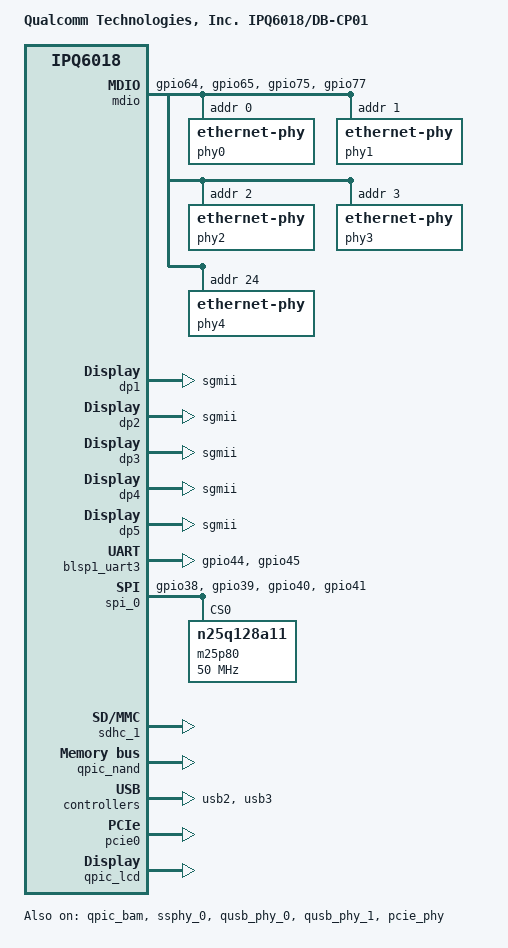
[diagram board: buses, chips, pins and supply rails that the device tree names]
/dts-v1/;
/*
 * Copyright (c) 2019, The Linux Foundation. All rights reserved.
 * Copyright (c) 2022 Qualcomm Innovation Center, Inc. All rights reserved.
 *
 * Permission to use, copy, modify, and/or distribute this software for any
 * purpose with or without fee is hereby granted, provided that the above
 * copyright notice and this permission notice appear in all copies.
 *
 * THE SOFTWARE IS PROVIDED "AS IS" AND THE AUTHOR DISCLAIMS ALL WARRANTIES
 * WITH REGARD TO THIS SOFTWARE INCLUDING ALL IMPLIED WARRANTIES OF
 * MERCHANTABILITY AND FITNESS. IN NO EVENT SHALL THE AUTHOR BE LIABLE FOR
 * ANY SPECIAL, DIRECT, INDIRECT, OR CONSEQUENTIAL DAMAGES OR ANY DAMAGES
 * WHATSOEVER RESULTING FROM LOSS OF USE, DATA OR PROFITS, WHETHER IN AN
 * ACTION OF CONTRACT, NEGLIGENCE OR OTHER TORTIOUS ACTION, ARISING OUT OF
 * OR IN CONNECTION WITH THE USE OR PERFORMANCE OF THIS SOFTWARE.
 */

#include "ipq6018.dtsi"
#include "ipq6018-cpr-regulator.dtsi"

/ {
	#address-cells = <0x2>;
	#size-cells = <0x2>;
	model = "Qualcomm Technologies, Inc. IPQ6018/DB-CP01";
	compatible = "qcom,ipq6018-db-cp01", "qcom,ipq6018";
	interrupt-parent = <&intc>;

	aliases {
		sdhc1 = &sdhc_1;
		/*
		 * Aliases as required by u-boot
		 * to patch MAC addresses
		 */
		ethernet0 = "/soc/dp1";
		ethernet1 = "/soc/dp2";
		ethernet2 = "/soc/dp3";
		ethernet3 = "/soc/dp4";
		ethernet4 = "/soc/dp5";
	};

	chosen {
		bootargs = "console=ttyMSM0,115200,n8 rw init=/init";
#ifdef __IPQ_MEM_PROFILE_256_MB__
		bootargs-append = " swiotlb=1";
#else
		bootargs-append = " swiotlb=1 coherent_pool=2M";
#endif
	};

	/*
	 * +=========+==============+========================+
	 * |        |              |                         |
	 * | Region | Start Offset |          Size           |
	 * |        |              |                         |
	 * +--------+--------------+-------------------------+
	 * |        |              |                         |
	 * |        |              |                         |
	 * |        |              |                         |
	 * |        |              |                         |
	 * | Linux  |  0x41000000  |         119MB           |
	 * |        |              |                         |
	 * |        |              |                         |
	 * |        |              |                         |
	 * +--------+--------------+-------------------------+
	 * |        |              |                         |
	 * | LPASS  |              |                         |
	 * |   Q6   |  0x48700000  |          26MB           |
	 * |        |              |                         |
	 * +--------+--------------+-------------------------+
	 *
	 * From the available 145 MB for Linux in the first 256 MB,
	 * we are reserving 26 MB for LPASS.
	 *
	 * Refer arch/arm64/boot/dts/qcom/qcom-ipq6018-memory.dtsi
	 * for memory layout.
	 */

	reserved-memory {
		lpass@48700000 {
			no-map;
			reg = <0x0 0x48700000 0x0 0x01a00000>;
		};
	};
};

&tlmm {
	uart_pins: uart_pins {
		mux {
			pins = "gpio44", "gpio45";
			function = "blsp2_uart";
			drive-strength = <8>;
			bias-pull-down;
		};
	};

	spi_0_pins: spi_0_pins {
		mux {
			pins = "gpio38", "gpio39", "gpio40", "gpio41";
			function = "blsp0_spi";
			drive-strength = <12>;
			bias-pull-down;
		};
	};

	qpic_pins {
		data_0 {
			pins = "gpio15";
			function = "qpic_pad0";
			drive-strength = <12>;
			bias-pull-down;
		};
		data_1 {
			pins = "gpio12";
			function = "qpic_pad1";
			drive-strength = <12>;
			bias-pull-down;
		};
		data_2 {
			pins = "gpio13";
			function = "qpic_pad2";
			drive-strength = <12>;
			bias-pull-down;
		};
		data_3 {
			pins = "gpio14";
			function = "qpic_pad3";
			drive-strength = <12>;
			bias-pull-down;
		};
		data_4 {
			pins = "gpio5";
			function = "qpic_pad4";
			drive-strength = <12>;
			bias-pull-down;
		};
		data_5 {
			pins = "gpio6";
			function = "qpic_pad5";
			drive-strength = <12>;
			bias-pull-down;
		};
		data_6 {
			pins = "gpio7";
			function = "qpic_pad6";
			drive-strength = <12>;
			bias-pull-down;
		};
		data_7 {
			pins = "gpio8";
			function = "qpic_pad7";
			drive-strength = <12>;
			bias-pull-down;
		};
		qpic_pad {
			pins = "gpio1", "gpio3", "gpio4",
			       "gpio10", "gpio11", "gpio17";
			function = "qpic_pad";
			drive-strength = <12>;
			bias-pull-down;
		};
	};

	button_pins: button_pins {
		wps_button {
			pins = "gpio9";
			function = "gpio";
			drive-strength = <8>;
			bias-pull-down;
		};
	};

	mdio_pins: mdio_pinmux {
		mux_0 {
			pins = "gpio64";
			function = "mdc";
			drive-strength = <8>;
			bias-pull-up;
		};
		mux_1 {
			pins = "gpio65";
			function = "mdio";
			drive-strength = <8>;
			bias-pull-up;
		};
		mux_2 {
			pins = "gpio75";
			function = "gpio";
			bias-pull-up;
		};
		mux_3 {
			pins = "gpio77";
			function = "gpio";
			bias-pull-up;
		};
	};

	pwm_pins: pwm_pinmux {
		mux_1 {
			pins = "gpio18";
			function = "pwm00";
			drive-strength = <8>;
		};
	};

};

&soc {
	mdio: mdio@90000 {
		pinctrl-0 = <&mdio_pins>;
		pinctrl-names = "default";
		phy-reset-gpio = <&tlmm 75 0 &tlmm 77 1>;
		status = "ok";
		phy0: ethernet-phy@0 {
			reg = <0>;
		};
		phy1: ethernet-phy@1 {
			reg = <1>;
		};
		phy2: ethernet-phy@2 {
			reg = <2>;
		};
		phy3: ethernet-phy@3 {
			reg = <3>;
		};
		phy4: ethernet-phy@4 {
			reg = <0x18>;
		};
	};

	dp1 {
		device_type = "network";
		compatible = "qcom,nss-dp";
		qcom,id = <1>;
		reg = <0x3a001000 0x200>;
		qcom,mactype = <0>;
		local-mac-address = [000000000000];
		qcom,link-poll = <1>;
		qcom,phy-mdio-addr = <0>;
		phy-mode = "sgmii";
	};

	dp2 {
		device_type = "network";
		compatible = "qcom,nss-dp";
		qcom,id = <2>;
		reg = <0x3a001200 0x200>;
		qcom,mactype = <0>;
		local-mac-address = [000000000000];
		qcom,link-poll = <1>;
		qcom,phy-mdio-addr = <1>;
		phy-mode = "sgmii";
	};

	dp3 {
		device_type = "network";
		compatible = "qcom,nss-dp";
		qcom,id = <3>;
		reg = <0x3a001400 0x200>;
		qcom,mactype = <0>;
		local-mac-address = [000000000000];
		qcom,link-poll = <1>;
		qcom,phy-mdio-addr = <2>;
		phy-mode = "sgmii";
	};

	dp4 {
		device_type = "network";
		compatible = "qcom,nss-dp";
		qcom,id = <4>;
		reg = <0x3a001600 0x200>;
		qcom,mactype = <0>;
		local-mac-address = [000000000000];
		qcom,link-poll = <1>;
		qcom,phy-mdio-addr = <3>;
		phy-mode = "sgmii";
	};

	dp5 {
		device_type = "network";
		compatible = "qcom,nss-dp";
		qcom,id = <5>;
		reg = <0x3a001800 0x200>;
		qcom,mactype = <0>;
		local-mac-address = [000000000000];
		qcom,link-poll = <1>;
		qcom,phy-mdio-addr = <24>;
		phy-mode = "sgmii";
	};

	nss-macsec0 {
		compatible = "qcom,nss-macsec";
		phy_addr = <0x18>;
		phy_access_mode = <0>;
		mdiobus = <&mdio>;
	};

	ess-switch@3a000000 {
		switch_cpu_bmp = <0x1>;  /* cpu port bitmap */
		switch_lan_bmp = <0x1e>; /* lan port bitmap */
		switch_wan_bmp = <0x20>; /* wan port bitmap */
		switch_inner_bmp = <0xc0>; /*inner port bitmap*/
		switch_mac_mode = <0x0>; /* mac mode for uniphy instance0*/
		switch_mac_mode1 = <0xf>; /* mac mode for uniphy instance1*/
		switch_mac_mode2 = <0xff>; /* mac mode for uniphy instance2*/
		qcom,port_phyinfo {
			port@0 {
				port_id = <1>;
				phy_address = <0>;
			};
			port@1 {
				port_id = <2>;
				phy_address = <1>;
			};
			port@2 {
				port_id = <3>;
				phy_address = <2>;
			};
			port@3 {
				port_id = <4>;
				phy_address = <3>;
			};
			port@4 {
				port_id = <5>;
				phy_address = <0x18>;
				port_mac_sel = "QGMAC_PORT";
			};
		};
	};

	pwm {
		pinctrl-0 = <&pwm_pins>;
		pinctrl-names = "default";
		used-pwm-indices = <1>, <0>, <0>, <0>;
		status = "disabled";
	};
};

&blsp1_uart3 {
	pinctrl-0 = <&uart_pins>;
	pinctrl-names = "default";
	status = "ok";
};

&spi_0 {
	pinctrl-0 = <&spi_0_pins>;
	pinctrl-names = "default";
	cs-select = <0>;
	status = "ok";

	m25p80@0 {
		#address-cells = <1>;
		#size-cells = <1>;
		reg = <0>;
		compatible = "n25q128a11";
		linux,modalias = "m25p80", "n25q128a11";
		spi-max-frequency = <50000000>;
		use-default-sizes;
	};
};

&sdhc_1 {
	status = "ok";
};

&qpic_bam {
	status = "ok";
};

&qpic_nand {
	pinctrl-0 = <&qpic_pins>;
	pinctrl-names = "default";
	status = "ok";
};

&ssphy_0 {
	status = "ok";
};

&qusb_phy_0 {
	status = "ok";
};

&qusb_phy_1 {
	status = "ok";
};

&usb2 {
	status = "ok";
};

&usb3 {
	status = "ok";
};

&pcie_phy {
	status = "ok";
};

&pcie0 {
	status = "ok";
};

&qpic_lcd {
	status = "ok";
};

&qpic_lcd_panel {
	status = "ok";
};
